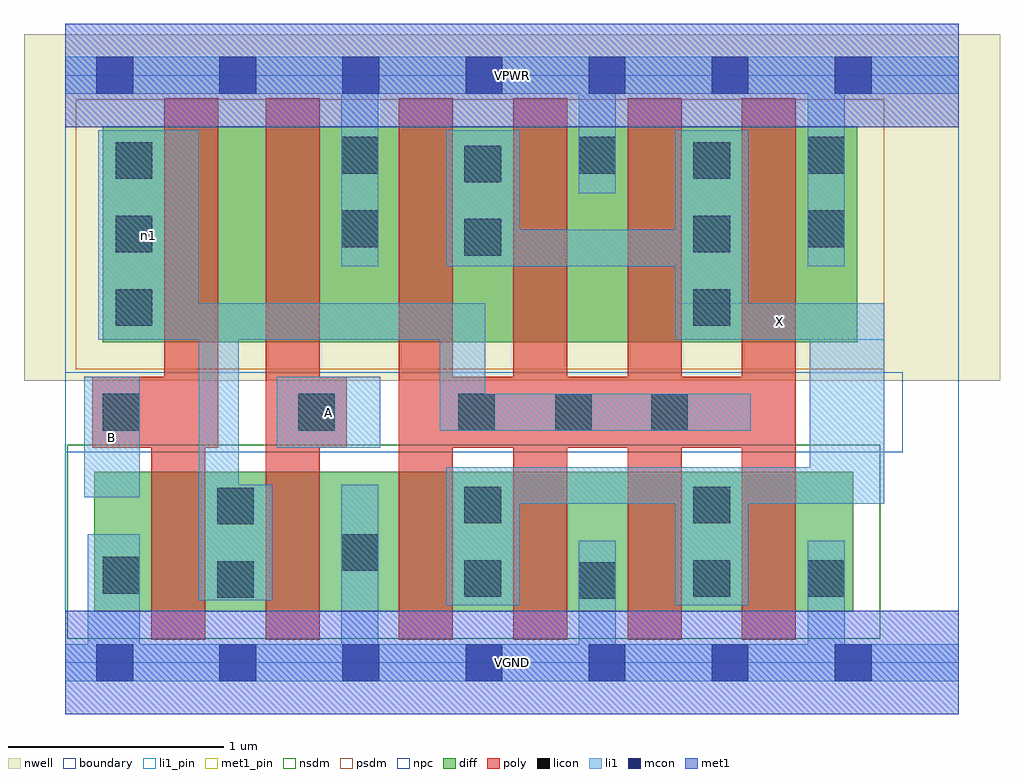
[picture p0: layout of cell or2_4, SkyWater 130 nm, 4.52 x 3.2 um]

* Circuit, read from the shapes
.subckt or2_4 A B VGND VPWR X n1
XM1 n1 B VGND VSUBS sky130_fd_pr__nfet_01v8 w=0.65 l=0.25
XM2 VGND A n1 VSUBS sky130_fd_pr__nfet_01v8 w=0.65 l=0.25
XM3 X n1 VGND VSUBS sky130_fd_pr__nfet_01v8 w=0.65 l=0.25 m=4
XM4 n2 B n1 n3 sky130_fd_pr__pfet_01v8 w=1 l=0.25
XM5 VPWR A n2 n3 sky130_fd_pr__pfet_01v8 w=1 l=0.25
XM6 X n1 VPWR n3 sky130_fd_pr__pfet_01v8 w=1 l=0.25 m=4
.ends

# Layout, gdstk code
import gdstk
lib = gdstk.Library(unit=1e-6, precision=1e-09)
def R(c, l, rs):  # rectangles x0, y0, x1, y1
    for r in rs: c.add(gdstk.rectangle(r[:2], r[2:], *l))
def A(c, l, x, y, w, h, nx, ny, dx, dy):  # array of equal rectangles
    R(c, l, [(x+i*dx, y+j*dy, x+i*dx+w, y+j*dy+h) for i in range(nx) for j in range(ny)])
nwell = (64, 20)
diff = (65, 20)
poly = (66, 20)
licon = (66, 44)
li1_pin = (67, 16)
li1 = (67, 20)
mcon = (67, 44)
met1_pin = (68, 16)
met1 = (68, 20)
nsdm = (93, 44)
psdm = (94, 20)
npc = (95, 20)
boundary = (235, 4)

or2_4 = lib.new_cell('or2_4')
R(or2_4, nwell, [(-0.19,1.305,4.33,2.91), (0,1.305,4.14,2.91)])
R(or2_4, diff, [(0.135,0.235,3.65,0.885), (0.175,1.485,3.67,2.485)])
A(or2_4, poly, 1.545, 0.105, 0.25, 2.51, 4, 1, 0.53, 0)
R(or2_4, poly, [(0.4,0.105,0.65,1.325), (0.93,0.105,1.18,2.615), (0.125,0.995,0.71,1.325), (0.46,0.995,0.71,2.615), (0.93,0.995,1.305,1.325), (1.545,0.995,3.385,1.325)])
A(or2_4, licon, 0.235, 1.56, 0.17, 0.17, 1, 3, 0, 0.34)
A(or2_4, licon, 2.91, 1.56, 0.17, 0.17, 1, 3, 0, 0.34)
R(or2_4, licon, [(2.38,0.295,2.55,0.465), (0.705,0.3,0.875,0.47), (1.85,0.305,2.02,0.475), (2.91,0.305,3.08,0.475), (3.44,0.305,3.61,0.475), (0.175,0.32,0.345,0.49), (1.28,0.425,1.45,0.595), (0.705,0.64,0.875,0.81), (1.85,0.645,2.02,0.815), (2.91,0.645,3.08,0.815), (0.175,1.075,0.345,1.245), (1.08,1.075,1.25,1.245), (1.82,1.075,1.99,1.245), (2.27,1.075,2.44,1.245), (2.715,1.075,2.885,1.245), (1.85,1.885,2.02,2.055), (1.28,1.925,1.45,2.095), (3.44,1.925,3.61,2.095), (1.85,2.225,2.02,2.395), (1.28,2.265,1.45,2.435), (2.38,2.265,2.55,2.435), (3.44,2.265,3.61,2.435)])
R(or2_4, li1_pin, [(0.09,0.765,0.345,1.325), (0.98,0.995,1.46,1.325), (2.825,1.495,3.795,1.665)])
R(or2_4, li1, [(0,-0.085,4.14,0.085), (0.105,-0.085,0.345,0.595), (1.28,-0.085,1.45,0.825), (2.38,-0.085,2.55,0.565), (3.44,-0.085,3.61,0.565), (1.765,0.265,2.105,0.905), (2.825,0.265,3.165,0.905), (0.62,0.29,0.805,1.665), (0.62,0.29,0.96,0.825), (1.765,0.735,3.795,0.905), (3.45,0.735,3.795,1.665), (0.09,0.765,0.345,1.325), (0.98,0.995,1.46,1.325), (1.735,1.075,3.175,1.245), (1.735,1.075,1.945,1.665), (0.155,1.495,0.62,2.465), (0.155,1.495,1.945,1.665), (2.825,1.495,3.165,2.465), (2.825,1.495,3.795,1.665), (1.28,1.835,1.45,2.805), (1.765,1.835,2.105,2.465), (1.765,1.835,3.165,2.005), (3.44,1.835,3.61,2.805), (2.38,2.175,2.55,2.805), (0,2.635,4.14,2.805)])
A(or2_4, mcon, 0.145, -0.085, 0.17, 0.17, 7, 2, 0.57, 2.72)
R(or2_4, met1_pin, [(0,-0.24,4.14,0.24), (0,2.48,4.14,2.96)])
R(or2_4, met1, [(0,-0.24,4.14,0.24), (0,2.48,4.14,2.96)])
R(or2_4, nsdm, [(0.01,0.11,3.775,1.01)])
R(or2_4, psdm, [(0.05,1.36,3.795,2.61)])
R(or2_4, npc, [(0,0.975,3.88,1.345)])
R(or2_4, boundary, [(0,0,4.14,2.72)])
or2_4.add(gdstk.Label('A', (1.22,1.16), layer=67, texttype=5))
or2_4.add(gdstk.Label('B', (0.217,1.045), layer=67, texttype=5))
or2_4.add(gdstk.Label('X', (3.31,1.58), layer=67, texttype=5))
or2_4.add(gdstk.Label('n1', (0.387,1.98), layer=67, texttype=5))
or2_4.add(gdstk.Label('VPWR', (2.07,2.72), layer=68, texttype=5))
or2_4.add(gdstk.Label('VGND', (2.07,0), layer=68, texttype=5))
or2_4.add(gdstk.Label('A', (1.22,1.16), layer=67, texttype=16))
or2_4.add(gdstk.Label('B', (0.217,1.045), layer=67, texttype=16))
or2_4.add(gdstk.Label('X', (3.31,1.58), layer=67, texttype=16))
or2_4.add(gdstk.Label('VPWR', (2.07,2.72), layer=68, texttype=16))
or2_4.add(gdstk.Label('VGND', (2.07,0), layer=68, texttype=16))

lib.write_gds('or2_4.gds')
